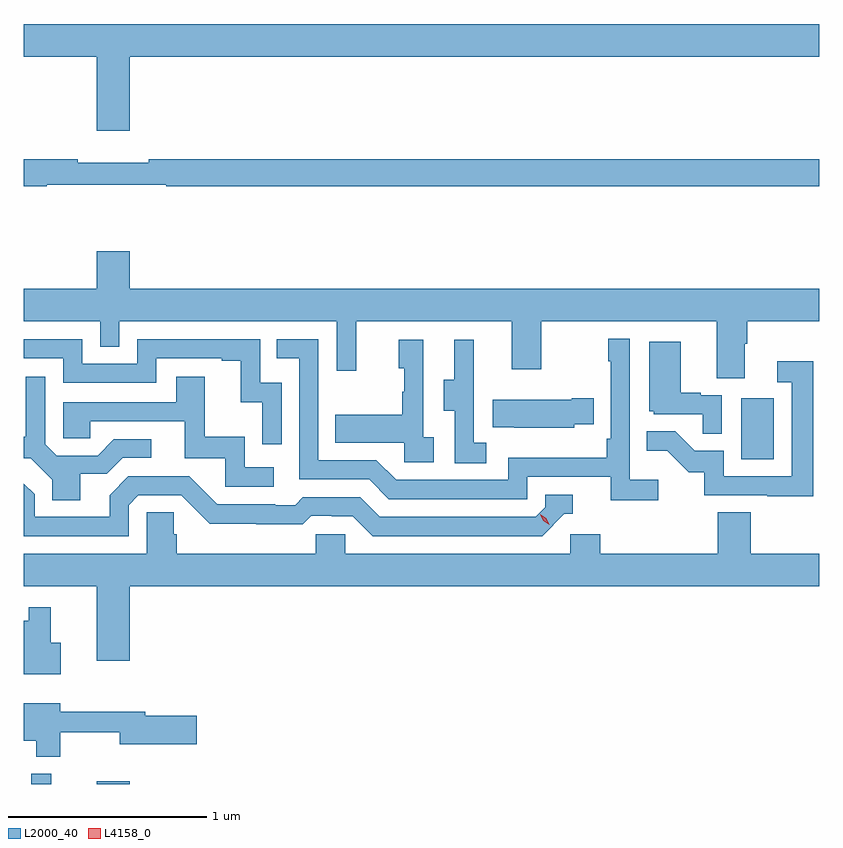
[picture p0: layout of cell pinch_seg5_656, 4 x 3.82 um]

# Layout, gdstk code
import gdstk
lib = gdstk.Library(unit=1e-6, precision=1e-09)
def R(c, l, rs):  # rectangles x0, y0, x1, y1
    for r in rs: c.add(gdstk.rectangle(r[:2], r[2:], *l))
def P(c, l, *ps):  # polygons
    for p in ps: c.add(gdstk.Polygon(p, *l))
L2000_40 = (2000, 40)
L4158_0 = (4158, 0)

pinch_seg5_656 = lib.new_cell('pinch_seg5_656')
R(pinch_seg5_656, L2000_40, [(1063.778,841.114,1063.878,841.165), (1064.108,841.114,1064.272,841.129), (1067.348,842.748,1067.512,843.055)])
P(pinch_seg5_656, L2000_40, [(1064.272,844.772),(1067.74,844.772),(1067.74,844.936),(1063.74,844.936),(1063.74,844.772),(1064.108,844.772),(1064.108,844.398),(1064.272,844.398)],
  [(1063.856,844.128),(1064.456,844.128),(1064.456,844.12),(1067.74,844.12),(1067.74,844.256),(1064.368,844.256),(1064.368,844.237),(1064.012,844.237),(1064.012,844.256),(1063.74,844.256),(1063.74,844.12),(1063.856,844.12)],
  [(1067.365,843.328),(1067.378,843.328),(1067.378,843.44),(1067.74,843.44),(1067.74,843.604),(1064.272,843.604),(1064.272,843.793),(1064.108,843.793),(1064.108,843.604),(1063.74,843.604),(1063.74,843.44),(1064.124,843.44),(1064.124,843.313),(1064.22,843.313),(1064.22,843.44),(1065.315,843.44),(1065.315,843.192),(1065.413,843.192),(1065.413,843.44),(1066.193,843.44),(1066.193,843.201),(1066.341,843.201),(1066.341,843.44),(1067.225,843.44),(1067.225,843.154),(1067.365,843.154)],
  [(1066.93,842.644),(1066.788,842.644),(1066.788,843.352),(1066.68,843.352),(1066.68,843.239),(1066.692,843.239),(1066.692,842.851),(1066.672,842.851),(1066.672,842.755),(1066.176,842.755),(1066.176,842.643),(1065.612,842.643),(1065.513,842.742),(1065.222,842.742),(1065.222,843.351),(1065.013,843.351),(1065.013,843.255),(1065.126,843.255),(1065.126,842.646),(1065.476,842.646),(1065.575,842.547),(1066.272,842.547),(1066.272,842.658),(1066.691,842.658),(1066.691,842.542),(1066.93,842.542)],
  [(1065.036,843.132),(1064.928,843.132),(1064.928,843.351),(1064.31,843.351),(1064.31,843.228),(1064.034,843.228),(1064.034,843.351),(1063.74,843.351),(1063.74,843.255),(1063.938,843.255),(1063.938,843.132),(1064.406,843.132),(1064.406,843.255),(1064.735,843.255),(1064.735,843.243),(1064.831,843.243),(1064.831,843.035),(1064.94,843.035),(1064.94,842.823),(1065.036,842.823)],
  [(1065.802,842.858),(1065.75,842.858),(1065.75,843.349),(1065.626,843.349),(1065.626,843.204),(1065.652,843.204),(1065.652,843.086),(1065.642,843.086),(1065.642,842.971),(1065.307,842.971),(1065.307,842.831),(1065.654,842.831),(1065.654,842.733),(1065.802,842.733)],
  [(1066.066,842.831),(1066.002,842.831),(1066.002,843.135),(1066.004,843.135),(1066.004,843.349),(1065.905,843.349),(1065.905,843.147),(1065.851,843.147),(1065.851,842.992),(1065.906,842.992),(1065.906,842.728),(1066.066,842.728)],
  [(1067.25,843.069),(1067.144,843.069),(1067.144,843.082),(1067.044,843.082),(1067.044,843.337),(1066.886,843.337),(1066.886,842.988),(1066.908,842.988),(1066.908,842.973),(1067.155,842.973),(1067.155,842.875),(1067.25,842.875)],
  [(1067.71,843.241),(1067.529,843.241),(1067.529,843.135),(1067.601,843.135),(1067.601,842.661),(1067.259,842.661),(1067.259,842.79),(1067.115,842.79),(1067.017,842.888),(1066.873,842.888),(1066.873,842.789),(1066.977,842.789),(1067.084,842.682),(1067.161,842.682),(1067.161,842.565),(1067.479,842.565),(1067.479,842.56),(1067.71,842.56)],
  [(1064.023,842.674),(1064.158,842.674),(1064.238,842.754),(1064.38,842.754),(1064.38,842.847),(1064.192,842.847),(1064.111,842.766),(1063.905,842.766),(1063.848,842.823),(1063.848,843.163),(1063.751,843.163),(1063.751,842.86),(1063.74,842.86),(1063.74,842.751),(1063.776,842.751),(1063.883,842.644),(1063.883,842.542),(1064.023,842.542)],
  [(1064.998,842.706),(1064.85,842.706),(1064.85,842.86),(1064.651,842.86),(1064.651,843.163),(1064.507,843.163),(1064.507,843.033),(1063.938,843.033),(1063.938,842.853),(1064.075,842.853),(1064.075,842.937),(1064.549,842.937),(1064.549,842.751),(1064.754,842.751),(1064.754,842.61),(1064.998,842.61)],
  [(1066.509,842.924),(1066.607,842.924),(1066.607,843.054),(1066.496,843.054),(1066.496,843.046),(1066.099,843.046),(1066.099,842.909),(1066.207,842.909),(1066.207,842.906),(1066.509,842.906)],
  [(1064.268,842.517),(1064.316,842.565),(1064.532,842.565),(1064.674,842.423),(1064.91,842.423),(1064.91,842.421),(1065.143,842.421),(1065.185,842.463),(1065.288,842.463),(1065.288,842.46),(1065.395,842.46),(1065.494,842.361),(1066.347,842.361),(1066.458,842.472),(1066.501,842.472),(1066.501,842.568),(1066.362,842.568),(1066.362,842.505),(1066.314,842.457),(1065.531,842.457),(1065.432,842.556),(1065.143,842.556),(1065.104,842.517),(1065.005,842.517),(1065.005,842.52),(1064.712,842.52),(1064.571,842.661),(1064.265,842.661),(1064.171,842.567),(1064.171,842.457),(1063.794,842.457),(1063.794,842.571),(1063.74,842.625),(1063.74,842.361),(1064.268,842.361)],
  [(1064.272,842.108),(1067.74,842.108),(1067.74,842.272),(1067.396,842.272),(1067.396,842.48),(1067.231,842.48),(1067.231,842.272),(1066.64,842.272),(1066.64,842.37),(1066.488,842.37),(1066.488,842.272),(1065.357,842.272),(1065.357,842.37),(1065.207,842.37),(1065.207,842.272),(1064.51,842.272),(1064.51,842.37),(1064.495,842.37),(1064.495,842.48),(1064.358,842.48),(1064.358,842.272),(1063.74,842.272),(1063.74,842.108),(1064.108,842.108),(1064.108,841.734),(1064.272,841.734)],
  [(1063.927,841.825),(1063.875,841.825),(1063.875,842.002),(1063.764,842.002),(1063.764,841.936),(1063.74,841.936),(1063.74,841.667),(1063.927,841.667)],
  [(1063.924,841.375),(1064.222,841.375),(1064.222,841.315),(1064.611,841.315),(1064.611,841.457),(1064.35,841.457),(1064.35,841.478),(1063.924,841.478),(1063.924,841.519),(1063.74,841.519),(1063.74,841.331),(1063.802,841.331),(1063.802,841.25),(1063.924,841.25)])
P(pinch_seg5_656, L4158_0, [(1066.383,842.417),(1066.353,842.437),(1066.337,842.47),(1066.337,842.47),(1066.337,842.47),(1066.368,842.45),(1066.383,842.418),(1066.383,842.417)])

lib.write_gds('pinch_seg5_656.gds')
